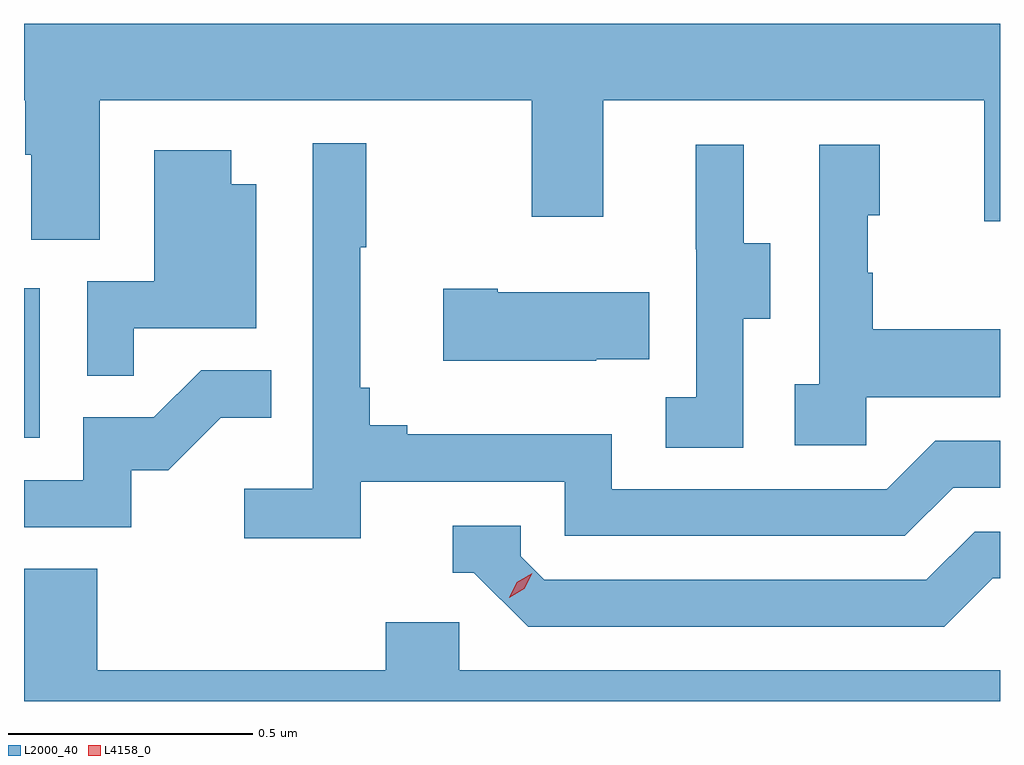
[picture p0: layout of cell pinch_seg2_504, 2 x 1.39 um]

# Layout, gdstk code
import gdstk
lib = gdstk.Library(unit=1e-6, precision=1e-09)
def R(c, l, rs):  # rectangles x0, y0, x1, y1
    for r in rs: c.add(gdstk.rectangle(r[:2], r[2:], *l))
def P(c, l, *ps):  # polygons
    for p in ps: c.add(gdstk.Polygon(p, *l))
L2000_40 = (2000, 40)
L4158_0 = (4158, 0)

pinch_seg2_504 = lib.new_cell('pinch_seg2_504')
R(pinch_seg2_504, L2000_40, [(964.43,584.34,964.462,584.647)])
P(pinch_seg2_504, L2000_40, [(964.585,585.032),(965.47,585.032),(965.47,584.793),(965.617,584.793),(965.617,585.032),(966.398,585.032),(966.398,584.784),(966.43,584.784),(966.43,585.189),(964.43,585.189),(964.43,585.032),(964.433,585.032),(964.433,584.92),(964.445,584.92),(964.445,584.746),(964.585,584.746)],
  [(965.12,584.25),(965.538,584.25),(965.538,584.139),(966.235,584.139),(966.334,584.238),(966.43,584.238),(966.43,584.334),(966.297,584.334),(966.198,584.235),(965.634,584.235),(965.634,584.347),(965.215,584.347),(965.215,584.366),(965.138,584.366),(965.138,584.443),(965.119,584.443),(965.119,584.731),(965.131,584.731),(965.131,584.944),(965.022,584.944),(965.022,584.236),(964.881,584.236),(964.881,584.134),(965.12,584.134)],
  [(965.904,584.584),(965.959,584.584),(965.959,584.739),(965.905,584.739),(965.905,584.941),(965.807,584.941),(965.807,584.727),(965.808,584.727),(965.808,584.423),(965.745,584.423),(965.745,584.32),(965.904,584.32)],
  [(966.156,584.423),(966.43,584.423),(966.43,584.563),(966.169,584.563),(966.169,584.678),(966.159,584.678),(966.159,584.796),(966.184,584.796),(966.184,584.941),(966.06,584.941),(966.06,584.45),(966.009,584.45),(966.009,584.325),(966.156,584.325)],
  [(964.655,584.565),(964.906,584.565),(964.906,584.86),(964.855,584.86),(964.855,584.929),(964.697,584.929),(964.697,584.661),(964.56,584.661),(964.56,584.467),(964.655,584.467)],
  [(965.603,584.501),(965.711,584.501),(965.711,584.638),(965.401,584.638),(965.401,584.646),(965.289,584.646),(965.289,584.498),(965.603,584.498)],
  [(964.65,584.274),(964.726,584.274),(964.833,584.381),(964.937,584.381),(964.937,584.479),(964.793,584.479),(964.696,584.382),(964.551,584.382),(964.551,584.253),(964.43,584.253),(964.43,584.157),(964.65,584.157)],
  [(966.415,584.052),(966.43,584.052),(966.43,584.148),(966.378,584.148),(966.279,584.049),(965.496,584.049),(965.448,584.097),(965.448,584.16),(965.309,584.16),(965.309,584.064),(965.352,584.064),(965.463,583.953),(966.316,583.953)],
  [(966.43,583.864),(965.322,583.864),(965.322,583.962),(965.171,583.962),(965.171,583.864),(964.58,583.864),(964.58,584.072),(964.43,584.072),(964.43,583.8),(966.43,583.8)])
P(pinch_seg2_504, L4158_0, [(965.424,584.012),(965.424,584.012),(965.44,584.044),(965.471,584.063),(965.472,584.063),(965.472,584.063),(965.455,584.031),(965.424,584.012)])

lib.write_gds('pinch_seg2_504.gds')
